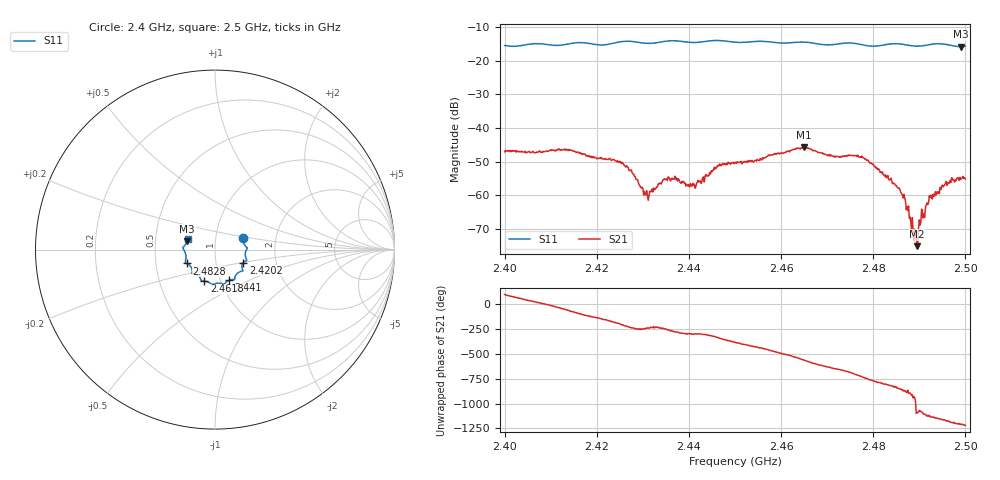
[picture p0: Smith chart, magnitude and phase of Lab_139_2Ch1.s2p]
# Hz S RI R 50
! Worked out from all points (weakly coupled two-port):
!   601 points, 2.4 GHz to 2.5 GHz, reference 50 ohm
!   highest |S21| = -45.76 dB at 2.465 GHz (marker M1); lowest = -75.1 dB at 2.4895 GHz (marker M2)
!   lowest |S11| = -15.8 dB at 2.499 GHz (marker M3), VSWR 1.39, Z = 36.4 + j3.54 ohm
!   |S11| at or under -10 dB: start of sweep to end of sweep
!   S12 and S22 are empty: the file has one direction only
!   S11 on the Smith chart (normalised r, x): 2.4 GHz: 1.36, +0.17; 2.4202 GHz: 1.36, -0.20; 2.441 GHz: 1.10, -0.39; 2.4618 GHz: 0.84, -0.30; 2.4828 GHz: 0.72, -0.11; 2.5 GHz: 0.73, +0.09
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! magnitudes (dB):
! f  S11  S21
! 2.4 GHz  -15.4  -47.1
! 2.4167 GHz  -14.6  -47.5
! 2.4202 GHz  -15.2  -49.1
! 2.426 GHz  -14.2  -51.2
! 2.4307 GHz  -14.8  -59.9
! 2.4333 GHz  -14.5  -56.6
! 2.4368 GHz  -14.0  -55.1
! 2.441 GHz  -14.5  -57.0
! 2.4463 GHz  -13.9  -51.1
! 2.45 GHz  -14.4  -50.3
! 2.4618 GHz  -14.6  -47.1
! 2.465 GHz  -14.4  -45.8
! 2.4667 GHz  -14.6  -46.3
! 2.4777 GHz  -15.2  -48.7
! 2.4828 GHz  -15.1  -54.7
! 2.4833 GHz  -15.0  -55.3
! 2.4863 GHz  -15.1  -59.8
! 2.4892 GHz  -15.6  -72.7
! 2.4895 GHz  -15.6  -75.1
! 2.4925 GHz  -15.1  -60.0
! 2.499 GHz  -15.8  -55.2
! 2.5 GHz  -15.7  -55.1
